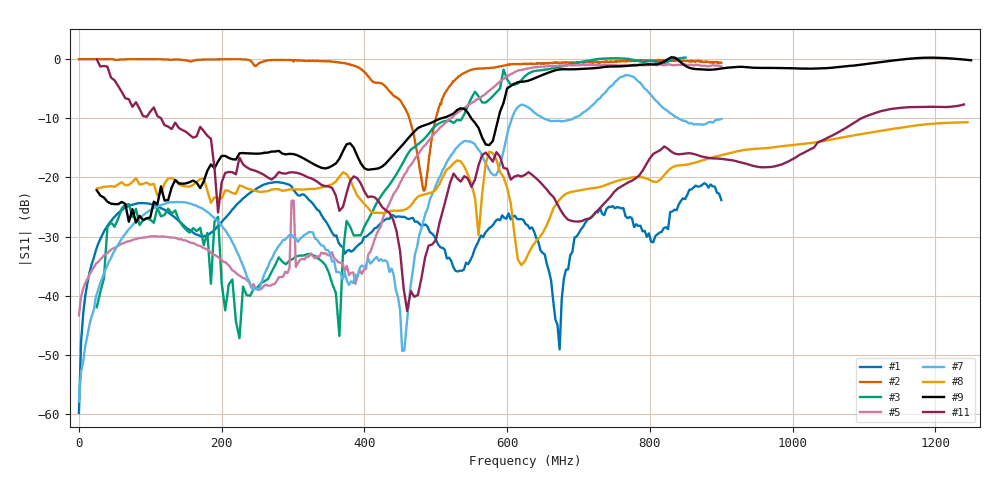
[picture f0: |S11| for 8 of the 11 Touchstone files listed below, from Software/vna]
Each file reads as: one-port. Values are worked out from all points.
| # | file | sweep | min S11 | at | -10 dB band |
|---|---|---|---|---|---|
| 1 | 433_tiny_s11.s1p | 50 kHz to 900 MHz | -59.8 dB | 50 kHz | over 899.9 MHz wide |
| 2 | 433mhz_s11.s1p | 50 kHz to 900 MHz | -22.2 dB | 483.5 MHz | 37.08 MHz wide |
| 3 | fv1206_josh_s11.s1p | 25 MHz to 850 MHz | -47.2 dB | 225 MHz | over 511.7 MHz wide |
| 4 | fv1206_josh_s11_corr.s1p | 25 MHz to 830 MHz | -47.2 dB | 225 MHz | over 511.7 MHz wide |
| 5 | fv1206_nano_s11.s1p | 50 kHz to 900 MHz | -43.3 dB | 50 kHz | over 521.3 MHz wide |
| 6 | fv1206_nano_s21.s1p | 50 kHz to 900 MHz | -48.2 dB | 50 kHz | over 600.1 MHz wide |
| 7 | fv1206_tiny_s11.s1p | 50 kHz to 900 MHz | -57.9 dB | 50 kHz | over 606.7 MHz wide |
| 8 | isolation_s11.s1p | 25 MHz to 1.245 GHz | -34.8 dB | 620 MHz | over 1.22 GHz wide |
| 9 | josh_shit_s11.s1p | 25 MHz to 1.25 GHz | -27.6 dB | 80 MHz | over 483.1 MHz wide |
| 10 | phase_demo_s11.s1p | 25 MHz to 1.25 GHz | -31.8 dB | 442.9 MHz | 619.9 MHz wide |
| 11 | trf37a75_josh_s11.s1p | 25 MHz to 1.24 GHz | -42.6 dB | 460 MHz | 981.3 MHz wide |
